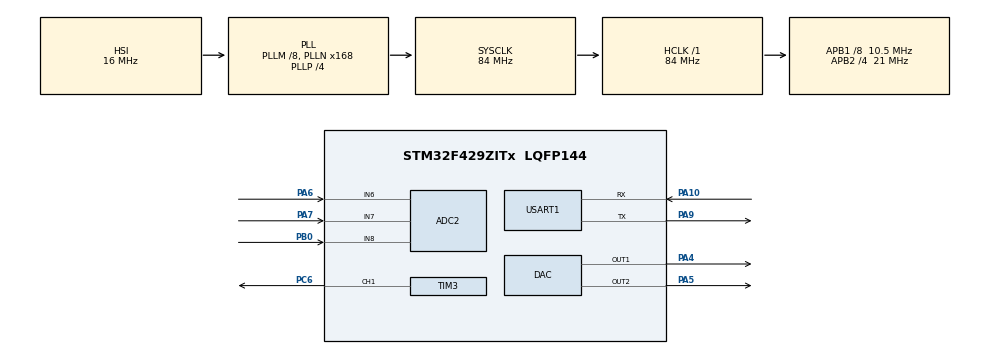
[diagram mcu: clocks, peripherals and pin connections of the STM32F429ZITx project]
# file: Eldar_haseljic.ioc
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ADC2.Channel-0\#ChannelRegularConversion=ADC_CHANNEL_6
ADC2.Channel-1\#ChannelRegularConversion=ADC_CHANNEL_7
ADC2.Channel-2\#ChannelRegularConversion=ADC_CHANNEL_8
ADC2.ContinuousConvMode=ENABLE
ADC2.NbrOfConversion=3
ADC2.NbrOfConversionFlag=1
ADC2.Rank-0\#ChannelRegularConversion=1
ADC2.Rank-1\#ChannelRegularConversion=2
ADC2.Rank-2\#ChannelRegularConversion=3
ADC2.SamplingTime-0\#ChannelRegularConversion=ADC_SAMPLETIME_480CYCLES
ADC2.SamplingTime-1\#ChannelRegularConversion=ADC_SAMPLETIME_480CYCLES
ADC2.SamplingTime-2\#ChannelRegularConversion=ADC_SAMPLETIME_480CYCLES
ADC2.ScanConvMode=ENABLE
FREERTOS.Mutexes01=MutexADC,Dynamic,NULL
FREERTOS.Queues01=SCADA,16,Data,0,Dynamic,NULL,NULL
FREERTOS.Tasks01=LevelTask,1,128,StartLevelTask,Default,NULL,Dynamic,NULL,NULL;TempTask,2,128,StartTempTask,Default,NULL,Dynamic,NULL,NULL;pHTask,3,128,StartpHTask,Default,NULL,Dynamic,NULL,NULL;ComTask,-2,128,StartComTask,Default,NULL,Dynamic,NULL,NULL
Mcu.Family=STM32F4
Mcu.Name=STM32F429ZITx
Mcu.Package=LQFP144
NVIC.ADC_IRQn=true\:5\:0\:false\:false\:true\:true\:true\:true
NVIC.PriorityGroup=NVIC_PRIORITYGROUP_4
NVIC.TIM1_UP_TIM10_IRQn=true\:0\:0\:false\:false\:true\:false\:false\:true
NVIC.TIM6_DAC_IRQn=true\:5\:0\:false\:false\:true\:true\:true\:true
NVIC.TimeBase=TIM1_UP_TIM10_IRQn
NVIC.TimeBaseIP=TIM1
NVIC.USART1_IRQn=true\:5\:0\:false\:false\:true\:true\:true\:true
PA10.Mode=Asynchronous
PA10.Signal=USART1_RX
PA4.Signal=COMP_DAC1_group
PA5.Signal=COMP_DAC2_group
PA6.Signal=ADCx_IN6
PA7.Signal=ADCx_IN7
PA9.Mode=Asynchronous
PA9.Signal=USART1_TX
PB0.Signal=ADCx_IN8
PC6.Signal=S_TIM3_CH1
ProjectManager.HeapSize=0x200
ProjectManager.StackSize=0x400
ProjectManager.TargetToolchain=MDK-ARM V5
RCC.48MHZClocksFreq_Value=48000000
RCC.AHBFreq_Value=84000000
RCC.APB1CLKDivider=RCC_HCLK_DIV8
RCC.APB1Freq_Value=10500000
RCC.APB1TimFreq_Value=21000000
RCC.APB2CLKDivider=RCC_HCLK_DIV4
RCC.APB2Freq_Value=21000000
RCC.APB2TimCLKDivider=2
RCC.APB2TimFreq_Value=42000000
RCC.CortexFreq_Value=84000000
RCC.HCLKFreq_Value=84000000
RCC.HSE_VALUE=8000000
RCC.HSI_VALUE=16000000
RCC.LSE_VALUE=32768
RCC.PLLM=8
RCC.PLLMUL=RCC_PLL_MUL9
RCC.PLLN=168
RCC.PLLP=RCC_PLLP_DIV4
RCC.PLLQ=7
RCC.PRESCALERUSB=RCC_USBCLKSOURCE_PLL_DIV1_5
RCC.SYSCLKFreq_VALUE=84000000
RCC.SYSCLKSource=RCC_SYSCLKSOURCE_PLLCLK
RCC.SYSCLKSourceVirtual=RCC_SYSCLKSOURCE_PLLCLK
RCC.USBFreq_Value=48000000
RCC.VCOOutputFreq_Value=336000000
SH.ADCx_IN6.0=ADC2_IN6,IN6
SH.ADCx_IN7.0=ADC2_IN7,IN7
SH.ADCx_IN8.0=ADC2_IN8,IN8
SH.COMP_DAC1_group.0=DAC_OUT1,DAC_OUT1
SH.COMP_DAC2_group.0=DAC_OUT2,DAC_OUT2
SH.S_TIM3_CH1.0=TIM3_CH1,PWM Generation1 CH1
TIM3.Channel-PWM\ Generation1\ CH1=TIM_CHANNEL_1
TIM3.Period=1000
TIM3.Prescaler=83
USART1.VirtualMode=VM_ASYNC
VP_FREERTOS_VS_CMSIS_V1.Mode=CMSIS_V1
VP_SYS_VS_tim1.Mode=TIM1
VP_TIM3_VS_ClockSourceINT.Mode=Internal
board=NUCLEO-F429ZI

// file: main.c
/* USER CODE BEGIN Header */
/**
  ******************************************************************************
  * @file           : main.c
  * @brief          : Main program body
  ******************************************************************************
  * @attention
  *
  * <h2><center>&copy; Copyright (c) 2019 STMicroelectronics.
  * All rights reserved.</center></h2>
  *
  * This software component is licensed by ST under Ultimate Liberty license
  * SLA0044, the "License"; You may not use this file except in compliance with
  * the License. You may obtain a copy of the License at:
  *                             www.st.com/SLA0044
  *
  ******************************************************************************
  */
/* USER CODE END Header */

#include "main.h"
#include "cmsis_os.h"
#include <stdlib.h>
#include <stdio.h>
#include <string.h>

ADC_HandleTypeDef hadc2;

DAC_HandleTypeDef hdac;

TIM_HandleTypeDef htim3;

UART_HandleTypeDef huart1;

osThreadId LevelTaskHandle;
osThreadId TempTaskHandle;
osThreadId pHTaskHandle;
osThreadId ComTaskHandle;

osMailQId SCADAHandle;
osMutexId MutexADCHandle;

void SystemClock_Config(void);
static void MX_GPIO_Init(void);
static void MX_DAC_Init(void);
static void MX_USART1_UART_Init(void);
static void MX_ADC2_Init(void);
static void MX_TIM3_Init(void);
void StartLevelTask(void const * argument);
void StartTempTask(void const * argument);
void StartpHTask(void const * argument);
void StartComTask(void const * argument);

/* USER CODE BEGIN PFP */
//uint8_t bufferZaSlanjeLevel [6];
//uint8_t bufferZaSlanjeTemp [6];
//uint8_t bufferZaSlanjePH [6];

uint16_t adcValue[3];
osStatus status = osOK;

static float LevelMax;
static float phMax;
static float tempMax;

static float phTrenutno;
static float tempTrenutno;
static float LevelTrenutno;

uint32_t Ttimestamp;
uint32_t Ptimestamp;
uint32_t Ltimestamp;

unsigned char Ulazni_buffer[8];
unsigned char Izlazni_buffer[25];

struct dolaznaPoruka {
	char tip;
	char vrijednost[7];
};

struct odlaznaPoruka{
	char tip;
	char refVrijednost[7];
	char mjVrijednost[7];
	char timestamp[10];
};

/* USER CODE END PFP */

int main(void)
{

  /* MCU Configuration--------------------------------------------------------*/

  /* Reset of all peripherals, Initializes the Flash interface and the Systick. */
  HAL_Init();

  /* Configure the system clock */
  SystemClock_Config();

  /* Initialize all configured peripherals */
  MX_GPIO_Init();
  MX_DAC_Init();
  MX_USART1_UART_Init();
  MX_ADC2_Init();
  MX_TIM3_Init();

  /* Create the mutex(es) */
  /* definition and creation of MutexADC */
  osMutexDef(MutexADC);
  MutexADCHandle = osMutexCreate(osMutex(MutexADC));

  /* Create the queue(s) */
  /* definition and creation of SCADA */
  //osMailQDef(SCADA, 16, Data);
	//SCADAHandle = osMailCreate(osMailQ(SCADA), NULL);

  /* Create the thread(s) */
  /* definition and creation of LevelTask */
  osThreadDef(LevelTask, StartLevelTask, osPriorityAboveNormal, 0, 128);
  LevelTaskHandle = osThreadCreate(osThread(LevelTask), NULL);

  /* definition and creation of TempTask */
  osThreadDef(TempTask, StartTempTask, osPriorityHigh, 0, 128);
  TempTaskHandle = osThreadCreate(osThread(TempTask), NULL);

  /* definition and creation of pHTask */
  osThreadDef(pHTask, StartpHTask, osPriorityRealtime, 0, 128);
  pHTaskHandle = osThreadCreate(osThread(pHTask), NULL);

  /* definition and creation of ComTask */
  osThreadDef(ComTask, StartComTask, osPriorityLow, 0, 128);
  ComTaskHandle = osThreadCreate(osThread(ComTask), NULL);

  /* Start scheduler */
  osKernelStart();

  /* We should never get here as control is now taken by the scheduler */

  /* Infinite loop */
  /* USER CODE BEGIN WHILE */
 // HAL_ADC_Start_DMA(&hadc2, (uint32_t*) adcValue, 3);

	while (1)
  {
    /* USER CODE END WHILE */

  }
}

void SystemClock_Config(void)
{
  RCC_OscInitTypeDef RCC_OscInitStruct = {0};
  RCC_ClkInitTypeDef RCC_ClkInitStruct = {0};

  /** Configure the main internal regulator output voltage
  */
  __HAL_RCC_PWR_CLK_ENABLE();
  __HAL_PWR_VOLTAGESCALING_CONFIG(PWR_REGULATOR_VOLTAGE_SCALE3);
  /** Initializes the CPU, AHB and APB busses clocks
  */
  RCC_OscInitStruct.OscillatorType = RCC_OSCILLATORTYPE_HSI;
  RCC_OscInitStruct.HSIState = RCC_HSI_ON;
  RCC_OscInitStruct.HSICalibrationValue = RCC_HSICALIBRATION_DEFAULT;
  RCC_OscInitStruct.PLL.PLLState = RCC_PLL_ON;
  RCC_OscInitStruct.PLL.PLLSource = RCC_PLLSOURCE_HSI;
  RCC_OscInitStruct.PLL.PLLM = 8;
  RCC_OscInitStruct.PLL.PLLN = 168;
  RCC_OscInitStruct.PLL.PLLP = RCC_PLLP_DIV4;
  RCC_OscInitStruct.PLL.PLLQ = 7;
  if (HAL_RCC_OscConfig(&RCC_OscInitStruct) != HAL_OK)
  {
    Error_Handler();
  }
  /** Initializes the CPU, AHB and APB busses clocks
  */
  RCC_ClkInitStruct.ClockType = RCC_CLOCKTYPE_HCLK|RCC_CLOCKTYPE_SYSCLK
                              |RCC_CLOCKTYPE_PCLK1|RCC_CLOCKTYPE_PCLK2;
  RCC_ClkInitStruct.SYSCLKSource = RCC_SYSCLKSOURCE_PLLCLK;
  RCC_ClkInitStruct.AHBCLKDivider = RCC_SYSCLK_DIV1;
  RCC_ClkInitStruct.APB1CLKDivider = RCC_HCLK_DIV8;
  RCC_ClkInitStruct.APB2CLKDivider = RCC_HCLK_DIV4;

  if (HAL_RCC_ClockConfig(&RCC_ClkInitStruct, FLASH_LATENCY_2) != HAL_OK)
  {
    Error_Handler();
  }
}

static void MX_ADC2_Init(void)
{

  ADC_ChannelConfTypeDef sConfig = {0};

  /** Configure the global features of the ADC (Clock, Resolution, Data Alignment and number of conversion)
  */
  hadc2.Instance = ADC2;
  hadc2.Init.ClockPrescaler = ADC_CLOCK_SYNC_PCLK_DIV2;
  hadc2.Init.Resolution = ADC_RESOLUTION_12B;
  hadc2.Init.ScanConvMode = ENABLE;
  hadc2.Init.ContinuousConvMode = ENABLE;
  hadc2.Init.DiscontinuousConvMode = DISABLE;
  hadc2.Init.ExternalTrigConvEdge = ADC_EXTERNALTRIGCONVEDGE_NONE;
  hadc2.Init.ExternalTrigConv = ADC_SOFTWARE_START;
  hadc2.Init.DataAlign = ADC_DATAALIGN_RIGHT;
  hadc2.Init.NbrOfConversion = 3;
  hadc2.Init.DMAContinuousRequests = DISABLE;
  hadc2.Init.EOCSelection = ADC_EOC_SINGLE_CONV;
  if (HAL_ADC_Init(&hadc2) != HAL_OK)
  {
    Error_Handler();
  }
  /** Configure for the selected ADC regular channel its corresponding rank in the sequencer and its sample time.
  */
  sConfig.Channel = ADC_CHANNEL_6;
  sConfig.Rank = 1;
  sConfig.SamplingTime = ADC_SAMPLETIME_480CYCLES;
  if (HAL_ADC_ConfigChannel(&hadc2, &sConfig) != HAL_OK)
  {
    Error_Handler();
  }
  /** Configure for the selected ADC regular channel its corresponding rank in the sequencer and its sample time.
  */
  sConfig.Channel = ADC_CHANNEL_7;
  sConfig.Rank = 2;
  if (HAL_ADC_ConfigChannel(&hadc2, &sConfig) != HAL_OK)
  {
    Error_Handler();
  }
  /** Configure for the selected ADC regular channel its corresponding rank in the sequencer and its sample time.
  */
  sConfig.Channel = ADC_CHANNEL_8;
  sConfig.Rank = 3;
  if (HAL_ADC_ConfigChannel(&hadc2, &sConfig) != HAL_OK)
  {
    Error_Handler();
  }

}

static void MX_DAC_Init(void)
{

  DAC_ChannelConfTypeDef sConfig = {0};

  /** DAC Initialization
  */
  hdac.Instance = DAC;
  if (HAL_DAC_Init(&hdac) != HAL_OK)
  {
    Error_Handler();
  }
  /** DAC channel OUT1 config
  */
  sConfig.DAC_Trigger = DAC_TRIGGER_NONE;
  sConfig.DAC_OutputBuffer = DAC_OUTPUTBUFFER_ENABLE;
  if (HAL_DAC_ConfigChannel(&hdac, &sConfig, DAC_CHANNEL_1) != HAL_OK)
  {
    Error_Handler();
  }
  /** DAC channel OUT2 config
  */
  if (HAL_DAC_ConfigChannel(&hdac, &sConfig, DAC_CHANNEL_2) != HAL_OK)
  {
    Error_Handler();
  }

}

static void MX_TIM3_Init(void)
{

  TIM_ClockConfigTypeDef sClockSourceConfig = {0};
  TIM_MasterConfigTypeDef sMasterConfig = {0};
  TIM_OC_InitTypeDef sConfigOC = {0};

  htim3.Instance = TIM3;
  htim3.Init.Prescaler = 83;
  htim3.Init.CounterMode = TIM_COUNTERMODE_UP;
  htim3.Init.Period = 1000;
  htim3.Init.ClockDivision = TIM_CLOCKDIVISION_DIV1;
  htim3.Init.AutoReloadPreload = TIM_AUTORELOAD_PRELOAD_DISABLE;
  if (HAL_TIM_Base_Init(&htim3) != HAL_OK)
  {
    Error_Handler();
  }
  sClockSourceConfig.ClockSource = TIM_CLOCKSOURCE_INTERNAL;
  if (HAL_TIM_ConfigClockSource(&htim3, &sClockSourceConfig) != HAL_OK)
  {
    Error_Handler();
  }
  if (HAL_TIM_PWM_Init(&htim3) != HAL_OK)
  {
    Error_Handler();
  }
  sMasterConfig.MasterOutputTrigger = TIM_TRGO_RESET;
  sMasterConfig.MasterSlaveMode = TIM_MASTERSLAVEMODE_DISABLE;
  if (HAL_TIMEx_MasterConfigSynchronization(&htim3, &sMasterConfig) != HAL_OK)
  {
    Error_Handler();
  }
  sConfigOC.OCMode = TIM_OCMODE_PWM1;
  sConfigOC.Pulse = 0;
  sConfigOC.OCPolarity = TIM_OCPOLARITY_HIGH;
  sConfigOC.OCFastMode = TIM_OCFAST_DISABLE;
  if (HAL_TIM_PWM_ConfigChannel(&htim3, &sConfigOC, TIM_CHANNEL_1) != HAL_OK)
  {
    Error_Handler();
  }
  HAL_TIM_MspPostInit(&htim3);

}

static void MX_USART1_UART_Init(void)
{

  huart1.Instance = USART1;
  huart1.Init.BaudRate = 115200;
  huart1.Init.WordLength = UART_WORDLENGTH_8B;
  huart1.Init.StopBits = UART_STOPBITS_1;
  huart1.Init.Parity = UART_PARITY_NONE;
  huart1.Init.Mode = UART_MODE_TX_RX;
  huart1.Init.HwFlowCtl = UART_HWCONTROL_NONE;
  huart1.Init.OverSampling = UART_OVERSAMPLING_16;
  if (HAL_UART_Init(&huart1) != HAL_OK)
  {
    Error_Handler();
  }

}

static void MX_GPIO_Init(void)
{

  /* GPIO Ports Clock Enable */
  __HAL_RCC_GPIOA_CLK_ENABLE();
  __HAL_RCC_GPIOB_CLK_ENABLE();
  __HAL_RCC_GPIOC_CLK_ENABLE();

}

/* USER CODE BEGIN Header_StartLevelTask */
/**
  * @brief  Function implementing the LevelTask thread.
  * @param  argument: Not used
  * @retval None
  */

void pwm(uint16_t val){

		TIM_OC_InitTypeDef sConfigOC;
    sConfigOC.OCMode = TIM_OCMODE_PWM1;
    sConfigOC.Pulse = val;
    sConfigOC.OCPolarity = TIM_OCPOLARITY_HIGH;
    sConfigOC.OCFastMode = TIM_OCFAST_DISABLE;
    HAL_TIM_PWM_ConfigChannel(&htim3, &sConfigOC, TIM_CHANNEL_1);
    HAL_TIM_PWM_Start(&htim3, TIM_CHANNEL_1);
}

/* USER CODE END Header_StartLevelTask */
void StartLevelTask(void const * argument)
{

  /* USER CODE BEGIN 5 */
  /* Infinite loop */

	ADC_ChannelConfTypeDef sConfig = {0};
	static float b0 = 0.2;
	static float b1 = 0.4;
	static float b2 = 0.6;
	static float ek_1 = 0;
	static float ek_2 = 0;
	static float uk_1 = 0;
	uint16_t izmjereniLevel;

	for(;;)
  {
		int start = osKernelSysTick();
		if(status == osOK)
			{
				status = osMutexWait(MutexADCHandle,2000);
				sConfig.Channel = ADC_CHANNEL_6;
				sConfig.Rank = 1;

				if (HAL_ADC_ConfigChannel(&hadc2, &sConfig) != HAL_OK)
					Error_Handler();

				HAL_ADC_Start(&hadc2);
				HAL_ADC_PollForConversion(&hadc2,10UL);
				adcValue[0]=HAL_ADC_GetValue(&hadc2);
				HAL_ADC_Stop(&hadc2);
				status = osMutexRelease(MutexADCHandle);
			}

		/*
		for(int i = 0; i < 4; ++i)
		{
			bufferZaSlanjeLevel[4-i] = (adcValue[0] % 10)+48;
			adcValue[0]/=10;
		}
		*/

			izmjereniLevel = adcValue[0];
			float ek = LevelMax - izmjereniLevel;
			float uk = uk_1 + b0 * ek + b1 * ek_1 + b2 * ek_2;
			HAL_DAC_SetValue(&hdac, DAC_CHANNEL_1, DAC_ALIGN_12B_R, uk);
			ek_2 = ek_1;
			ek_1 = ek;
			uk_1 = uk;

		/*
		bufferZaSlanjeLevel[5] = '\n';
		bufferZaSlanjeLevel[0] = 'L';
		HAL_UART_Transmit(&huart1,bufferZaSlanjeLevel,6,100);
		*/

			int end = osKernelSysTick();
			Ltimestamp = end-start;
			osDelay(100 - Ltimestamp);
		}
		/* USER CODE END 5 */
}

void StartTempTask(void const * argument)
{
  /* USER CODE BEGIN StartTempTask */
  /* Infinite loop */

	ADC_ChannelConfTypeDef sConfig = {0};
	static float b0 = 0.4;
	static float b1 = 0.3;
	static float b2 = 0.5;
	static float ek_1 = 0;
	static float ek_2 = 0;
	static float uk_1 = 0;
	uint16_t temperaturaIzmjerena;

	for(;;)
  {
		int start = osKernelSysTick();
		if(status == osOK)
			{
				status = osMutexWait(MutexADCHandle,2000);
				sConfig.Channel = ADC_CHANNEL_7;
				sConfig.Rank = 1;

				if (HAL_ADC_ConfigChannel(&hadc2, &sConfig) != HAL_OK)
					Error_Handler();

				HAL_ADC_Start(&hadc2);
				HAL_ADC_PollForConversion(&hadc2,10UL);
				adcValue[1]=HAL_ADC_GetValue(&hadc2);
				status = osMutexRelease(MutexADCHandle);
			}

		/*
		for(int i = 0; i < 4; ++i)
		{
			bufferZaSlanjeTemp[4-i] = (adcValue[1] % 10)+48;
			adcValue[1]/=10;
		}
		*/

		temperaturaIzmjerena = adcValue[1];
		float ek = tempMax - temperaturaIzmjerena;
		float uk = uk_1 + b0 * ek + b1 * ek_1 + b2 * ek_2;

		pwm(uk);
		ek_2 = ek_1;
		ek_1 = ek;
		uk_1 = uk;

		/*
		bufferZaSlanjeTemp[5] = '\n';
		bufferZaSlanjeTemp[0] = 'T';
		HAL_UART_Transmit(&huart1,bufferZaSlanjeTemp,6,100);
		*/

		int end = osKernelSysTick();
		Ttimestamp = end - start;
		osDelay(70 - Ttimestamp);
  }
  /* USER CODE END StartTempTask */
}

void StartpHTask(void const * argument)
{
  /* USER CODE BEGIN StartpHTask */
  /* Infinite loop */

	static float b0 = 0.2;
	static float b1 = 0.4;
	static float b2 = 0.6;
	static float ek_1 = 0;// e(k-1)
	static float ek_2 = 0;// e(k-2)
	static float uk_1 = 0;// u(k-1)
	uint16_t phIzmjerena;

	ADC_ChannelConfTypeDef sConfig = {0};
	for(;;)
  {
		int start = osKernelSysTick();
		if(status == osOK)
			{
				status = osMutexWait(MutexADCHandle,2000);
				sConfig.Channel = ADC_CHANNEL_8;
				sConfig.Rank = 1;

				if (HAL_ADC_ConfigChannel(&hadc2, &sConfig) != HAL_OK)
					Error_Handler();

				HAL_ADC_Start(&hadc2);
				HAL_ADC_PollForConversion(&hadc2,10UL);
				adcValue[2]=HAL_ADC_GetValue(&hadc2);
				status = osMutexRelease(MutexADCHandle);
			}

			phIzmjerena = adcValue[2];
			float ek = phMax - phIzmjerena;
			float uk = uk_1 + b0 * ek + b1 * ek_1 + b2 * ek_2;
			HAL_DAC_SetValue(&hdac, DAC_CHANNEL_2, DAC_ALIGN_12B_R, uk);
			ek_2 = ek_1;
			ek_1 = ek;
			uk_1 = uk;

		/*
		for(int i = 0; i < 4; i++){
			bufferZaSlanjePH[4-i] = (adcValue[2] % 10)+48;
			adcValue[2]/=10;
		}

		bufferZaSlanjePH[5] = '\n';
		bufferZaSlanjePH[0] = 'P';
		HAL_UART_Transmit(&huart1,bufferZaSlanjePH,6,100);
		*/

		int end = osKernelSysTick();
	  Ptimestamp = end-start;
		osDelay(50- Ptimestamp);
  }
  /* USER CODE END StartpHTask */
}

void print (int num)
{
	struct odlaznaPoruka Izlaz;
	Izlaz.tip = num;

	float Max = 0,Trenutno = 0;
	uint32_t timestamp = 0;
	if(num == 1)
	{
			Max = phMax;
			Trenutno = phTrenutno;
			timestamp = Ptimestamp;
	}
	else if(num == 2)
	{
			Max = tempMax;
			Trenutno = tempTrenutno;
			timestamp = Ttimestamp;
	}
	else if(num == 3)
	{
			Max = LevelMax;
			Trenutno = LevelTrenutno;
			timestamp = Ltimestamp;
	}

	sprintf(Izlaz.refVrijednost, "%3.3f", Max);
	sprintf(Izlaz.mjVrijednost, "%3.3f", Trenutno);
	sprintf(Izlaz.timestamp, "%10d", timestamp);
	memcpy(Izlazni_buffer, &Izlaz, sizeof(Izlaz));
	HAL_UART_Transmit(&huart1, Izlazni_buffer, 25, 1000);

}

void StartComTask(void const * argument)
{
  /* USER CODE BEGIN StartComTask */
  /* Infinite loop */
	for(;;)
  {
		HAL_UART_Receive(&huart1, Ulazni_buffer, 8, 10000);
		struct dolaznaPoruka *Ulaz = (struct dolaznaPoruka *) Ulazni_buffer;
		if(Ulaz->tip == 1)
			{
				phMax = strtof(Ulaz->vrijednost, NULL);
			}
				else if(Ulaz->tip == 2)
				{
					tempMax = strtof(Ulaz->vrijednost, NULL);
				}
					else if(Ulaz->tip == 3)
						{
							LevelMax = strtof(Ulaz->vrijednost, NULL);
						}
							else
								{
									print(1);
									print(2);
									print(3);
								}
  }
  /* USER CODE END StartComTask */
}

void HAL_TIM_PeriodElapsedCallback(TIM_HandleTypeDef *htim)
{
  if (htim->Instance == TIM1) {
    HAL_IncTick();
  }
}

void Error_Handler(void)
{
}

/************************ (C) COPYRIGHT STMicroelectronics *****END OF FILE****/
